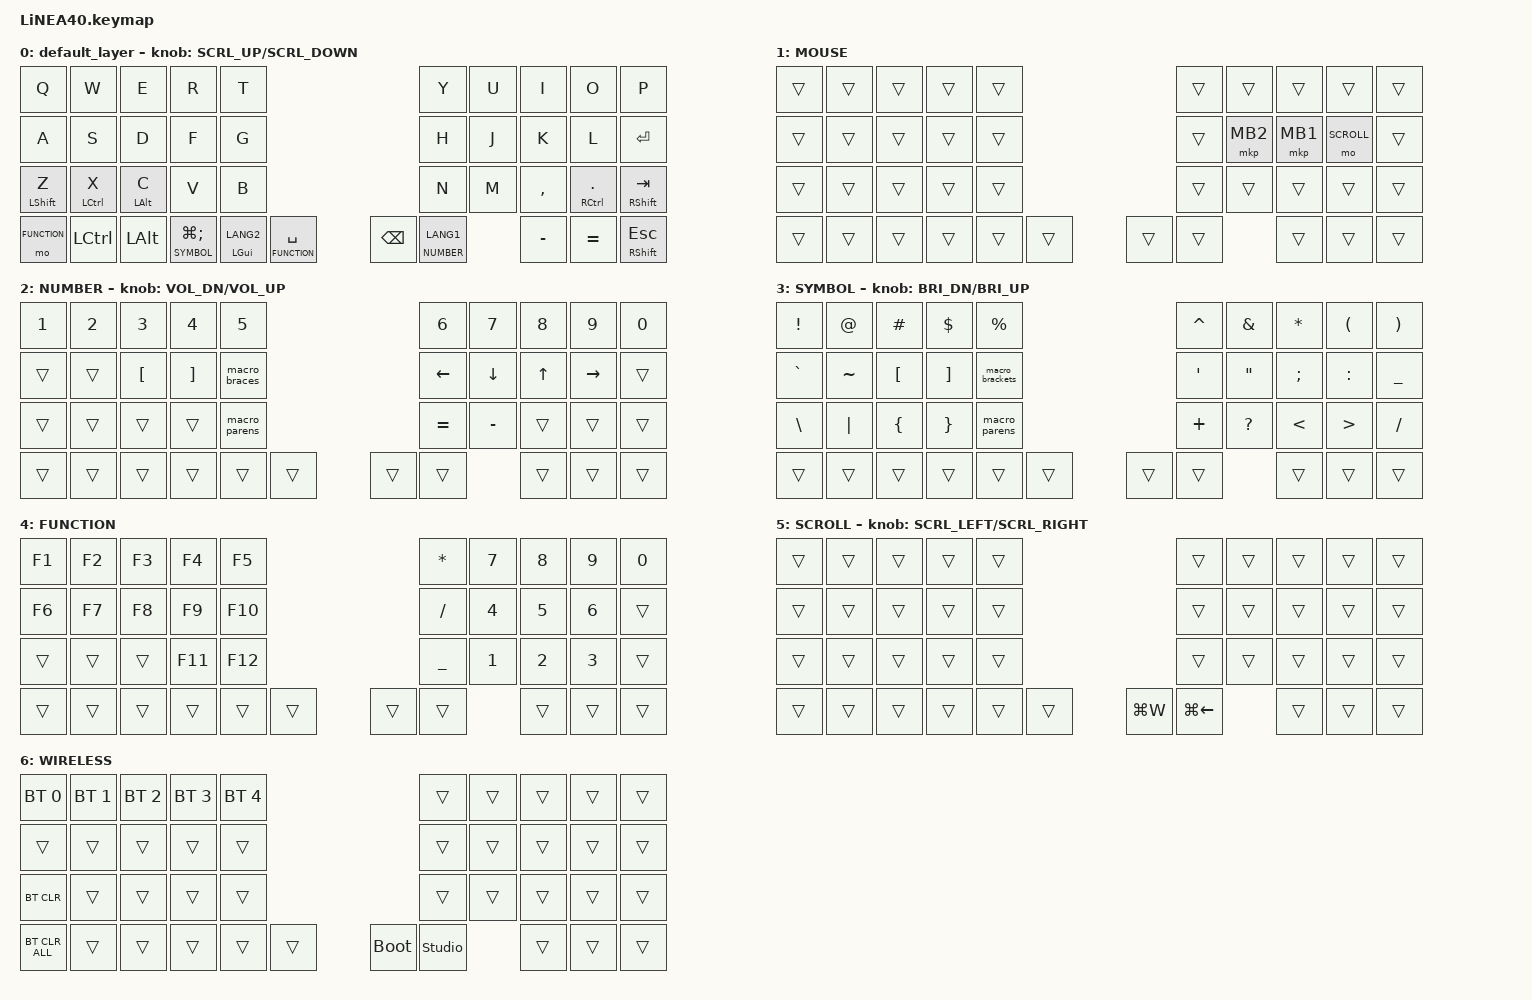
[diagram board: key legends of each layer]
#define ZMK_POINTING_DEFAULT_SCRL_VAL 150

#include <dt-bindings/zmk/input_transform.h>
#include <input/processors.dtsi>
#include <zephyr/dt-bindings/input/input-event-codes.h>
#include <behaviors.dtsi>
#include <dt-bindings/zmk/bt.h>
#include <dt-bindings/zmk/keys.h>
#include <dt-bindings/zmk/pointing.h>

// レイヤー定義

#define MOUSE 1
#define NUMBER 2
#define SYMBOL 3
#define FUNCTION 4
#define SCROLL 5
#define WIRELESS 6

// 書き込みコマンド
// git pull | ./flash_l.sh 左用
// git pull | ./flash_r.sh 右用
//mouse cursol
// &mmv {
//     delay-ms = <20>;
//     trigger-period-ms = <5>;
//     time-to-max-speed-ms = <100>;
//     acceleration-exponent = <2>;
// };
// //mouse scroll
// &msc {
//     delay-ms = <3>;
//     trigger-period-ms = <3>;
//     time-to-max-speed-ms = <100>;
//     acceleration-exponent = <30>;
// };

/ {
    input_processors {
        zip_wheel_scaler: zip_wheel_scaler {
            compatible = "zmk,input-processor-scaler";
            #input-processor-cells = <2>;
            type = <INPUT_EV_REL>;
            codes = <INPUT_REL_WHEEL>;
            track-remainders;
        };
    };
};

&msc_input_listener {
    // speed_up {
    //     layers = <FUNCTION>;
    //     // スクロールを3倍速にする
    //     input-processors = <
    //         &zip_wheel_scaler 4 1
    //     >;
    // };
    // speed_down {
    //     layers = <NUMBER>;
    //     // スクロールを?倍速にする
    //     input-processors = <
    //         &zip_wheel_scaler 1 3
    //     >;
    // };
};

&trackball_listener {
    scroller {
        layers = <SCROLL>;
        input-processors = <
            &zip_scroll_transform INPUT_TRANSFORM_Y_INVERT
            &zip_xy_to_scroll_mapper
        >;
    };
};

/ {
    macros {
        macro_ctrl_space: macro_ctrl_space {
            compatible = "zmk,behavior-macro";
            #binding-cells = <0>;
            wait-ms = <10>;
            tap-ms = <10>;
            bindings =
                <&macro_press>,
                <&kp LCTRL>,
                <&macro_tap>,
                <&kp SPACE>,
                <&macro_release>,
                <&kp LCTRL>;
        };

        /* ()を入力してカーソルを中に戻す */

        macro_parens: macro_parens {
            compatible = "zmk,behavior-macro";
            #binding-cells = <0>;
            wait-ms = <10>;
            tap-ms = <10>;
            bindings = <&kp LPAR &kp RPAR &kp LEFT>;
        };

        /* []を入力してカーソルを中に戻す */

        macro_brackets: macro_brackets {
            compatible = "zmk,behavior-macro";
            #binding-cells = <0>;
            wait-ms = <10>;
            tap-ms = <10>;
            bindings = <&kp LBKT &kp RBKT &kp LEFT>;
        };

        /* {}を入力してカーソルを中に戻す */

        macro_braces: macro_braces {
            compatible = "zmk,behavior-macro";
            #binding-cells = <0>;
            wait-ms = <10>;
            tap-ms = <10>;
            bindings = <&kp LBRC &kp RBRC &kp LEFT>;
        };

        /* <>を入力する */

        macro_angles: macro_angles {
            compatible = "zmk,behavior-macro";
            #binding-cells = <0>;
            wait-ms = <10>;
            tap-ms = <10>;
            bindings = <&kp LT &kp GT>;
        };

        /* ''を入力する */

        macro_squotes: macro_squotes {
            compatible = "zmk,behavior-macro";
            #binding-cells = <0>;
            wait-ms = <10>;
            tap-ms = <10>;
            bindings = <&kp SQT &kp SQT>;
        };

        /* ""を入力する */

        macro_dquotes: macro_dquotes {
            compatible = "zmk,behavior-macro";
            #binding-cells = <0>;
            wait-ms = <10>;
            tap-ms = <10>;
            bindings = <&kp DQT &kp DQT>;
        };

        macro_if: if {
            compatible = "zmk,behavior-macro";
            #binding-cells = <0>;
            bindings = <&kp LPAR &kp RPAR &kp SPACE &kp LBRC &kp RBRC>;
            label = "IF";
        };
    };

    combos {
        compatible = "zmk,combos";

        /* ============================================================
           CATEGORY: MOUSE & SYSTEM (CamelCase)
           =========================================================== */
        // Bluetoothレイヤー(6)呼び出し : 最下段3キー同時押し

        BluetoothLayer {
            bindings = <&mo WIRELESS>;
            key-positions = <39 40 38>;
        };

        combo_sqt {
            bindings = <&kp SQT>;
            key-positions = <18 17>;
        };

        combo_semi {
            bindings = <&kp SEMI>;
            key-positions = <17 16>;
        };

        combo_slash {
            bindings = <&kp SLASH>;
            key-positions = <27 28>;
        };

        combo_grave {
            bindings = <&kp GRAVE>;
            key-positions = <7 8>;
        };

        combo_m_if {
            bindings = <&macro_if>;
            key-positions = <16 17 13 12>;
        };

        combo_esc {
            bindings = <&kp ESC>;
            key-positions = <16 18>;
            timeout-ms = <60>;
        };

        combo_back_slash {
            bindings = <&kp BSLH>;
            key-positions = <25 26>;
        };

        combo_at {
            bindings = <&kp AT>;
            key-positions = <5 6>;
        };

        scroll {
            bindings = <&mo 5>;
            key-positions = <12 13>;
        };
    };

    behaviors {
        // 長押しでLGUI (Cmd)、単押しでCtrl+Spaceマクロ

        gui_ctrl_space: gui_ctrl_space {
            compatible = "zmk,behavior-hold-tap";
            label = "GUI_CTRL_SPACE";
            #binding-cells = <2>;
            tapping-term-ms = <200>;    // 長押しと判定されるまでの時間
            quick-tap-ms = <150>;       // 素早く2回叩いた時の挙動調整
            flavor = "hold-preferred";   // 単押し（マクロ）を優先する設定
            bindings = <&kp>, <&macro_ctrl_space>;
        };

        // Caps Lockをダブルタップで発動させる設定

        td_caps: td_caps {
            compatible = "zmk,behavior-tap-dance";
            label = "TD_CAPS";
            #binding-cells = <0>;
            tapping-term-ms = <200>;
            bindings = <&none>, <&kp CAPS>;

            // 1タップ目は何もしない（あるいは別のキー）、2タップでCaps
        };

        // カスタムHold-Tap: ホールドでLCMD、タップでLANG2、ダブルタップでCaps
        // ※gui_enをベースに、タップ部分をtd_capsと組み合わせたような挙動にします

        hm_caps: hm_caps {
            compatible = "zmk,behavior-hold-tap";
            label = "HM_CAPS";
            #binding-cells = <2>;

            // ホールド判定を少し短めにして、Commandとしての反応を速くする

            tapping-term-ms = <200>;

            // 連続入力時の判定を安定させる

            quick-tap-ms = <175>;

            // タップ判定よりもホールド（Command）を優先

            flavor = "hold-preferred";
            bindings = <&kp>, <&td_caps_lang>;
        };

        // LANG2とCAPSのタップダンス

        td_caps_lang: td_caps_lang {
            compatible = "zmk,behavior-tap-dance";
            label = "TD_CAPS_LANG";
            #binding-cells = <0>;
            tapping-term-ms = <250>;
            bindings = <&kp LANG2>, <&kp CAPS>;

            // 1タップで英数、2タップでCaps
        };

        re_kp: sensor_rotate_kp {
            compatible = "zmk,behavior-sensor-rotate-var";
            #sensor-binding-cells = <2>;
            bindings = <&kp>, <&kp>;
        };

        mouse_scrl: mouse_wheel_scrl {
            compatible = "zmk,behavior-sensor-rotate-var";
            #sensor-binding-cells = <2>;
            bindings = <&msc>, <&msc>;

            tap-ms = <20>;
        };

        // タップで英数、ダブルタップでかな

        td_enjp: td_enjp {
            compatible = "zmk,behavior-tap-dance";
            label = "TD_ENJP";
            #binding-cells = <0>;
            tapping-term-ms = <270>;
            bindings = <&kp LANG2>, <&kp LANG1>;
        };

        // 長押しGUI、タップで英数かな切り替え

        gui_en: gui_en {
            compatible = "zmk,behavior-hold-tap";
            label = "GUI_EN";
            #binding-cells = <2>;
            tapping-term-ms = <129>;
            flavor = "balanced";
            hold-trigger-on-release;
            bindings = <&kp>, <&td_enjp>;
        };

        // 一般的なHold-Tap (Hold: Modifier, Tap: Key)

        hm: hm {
            compatible = "zmk,behavior-hold-tap";
            label = "HM";
            #binding-cells = <2>;
            tapping-term-ms = <195>;

            // quick-tap-ms = <190>;

            flavor = "hold-preferred";
            bindings = <&kp>, <&kp>;
        };

        // ホームロウモッド用Hold-Tap（タイピング中の誤爆対策入り）

        hrm: home_row_mod {
            compatible = "zmk,behavior-hold-tap";
            #binding-cells = <2>;
            flavor = "tap-preferred";
            tapping-term-ms = <220>;
            quick-tap-ms = <175>;          // 連打・長押しリピート時はタップ扱い
            require-prior-idle-ms = <150>; // タイピング中の連続入力ではホールドにしない

            // 右手側＋親指キーと組み合わせた時だけホールド

            hold-trigger-key-positions = <5 6 7 8 9 15 16 17 18 19 25 26 27 28 29 30 31 32 33 34 35 36 37 38 39 40>;
            bindings = <&kp>, <&kp>;
        };

        // 一般的なLayer-Tap (Hold: Layer, Tap: Key)

        lt_k: lt_k {
            compatible = "zmk,behavior-hold-tap";
            label = "LT_K";
            #binding-cells = <2>;
            tapping-term-ms = <195>;
            flavor = "hold-preferred";

            // quick-tap-ms = <10>;

            bindings = <&mo>, <&kp>;
        };

        // スペース用Hold-Tap

        st: st {
            compatible = "zmk,behavior-hold-tap";
            label = "ST";
            #binding-cells = <2>;
            tapping-term-ms = <180>;
            quick-tap-ms = <195>;
            require-prior-idle-ms = <100>;
            flavor = "tap-preferred";
            bindings = <&kp>, <&kp>;
        };

        // Ctrl併用時に単語削除(Alt+BS)化

        bs_m: bs_m {
            compatible = "zmk,behavior-mod-morph";
            label = "BS_M";
            #binding-cells = <0>;
            bindings = <&kp BSPC>, <&kp LA(BSPC)>;

            mods = <(MOD_LCTL)>;
        };

        // 右親指用：長押しLayer 1、タップBSPC（Ctrl時は単語削除）、連打長押しでLayer優先

        l1_bs: l1_bs {
            compatible = "zmk,behavior-hold-tap";
            label = "L1_BS";
            #binding-cells = <2>;
            tapping-term-ms = <160>;
            flavor = "hold-preferred";
            quick-tap-ms = <0>; // 連打時のBS長押しを禁止
            bindings = <&mo>, <&bs_m>;
        };

        stl: stl {
            compatible = "zmk,behavior-hold-tap";
            label = "STL";
            #binding-cells = <2>;
            tapping-term-ms = <195>;
            quick-tap-ms = <190>;
            require-prior-idle-ms = <110>;
            flavor = "tap-preferred";
            bindings = <&mo>, <&kp>;
        };

        stmo: stmo {
            compatible = "zmk,behavior-hold-tap";
            label = "STMO";
            #binding-cells = <2>;
            tapping-term-ms = <196>;
            quick-tap-ms = <175>;
            require-prior-idle-ms = <90>;
            flavor = "tap-preferred";
            bindings = <&mt>, <&kp>;
        };
    };

    keymap {
        compatible = "zmk,keymap";

        default_layer {
            bindings = <
&kp Q         &kp W        &kp E       &kp R                  &kp T                                            &kp Y               &kp U  &kp I      &kp O          &kp P
&kp A         &kp S        &kp D       &kp F                  &kp G                                            &kp H               &kp J  &kp K      &kp L          &kp RET
&st LSHIFT Z  &st LCTRL X  &st LALT C  &kp V                  &kp B                                            &kp N               &kp M  &kp COMMA  &st RCTRL DOT  &st RSHIFT TAB
&mo FUNCTION  &kp LCTRL    &kp LALT    &lt_k SYMBOL LG(SEMI)  &hm LGUI LANG2  &stl FUNCTION SPACE    &kp BSPC  &lt_k NUMBER LANG1         &kp MINUS  &kp EQUAL      &hm RSHIFT ESC
            >;

            sensor-bindings = <&mouse_scrl SCRL_UP SCRL_DOWN>;
        };

        //1 マウス操作用

        MOUSE {
            bindings = <
&trans  &trans  &trans  &trans  &trans                    &trans  &trans    &trans    &trans      &trans
&trans  &trans  &trans  &trans  &trans                    &trans  &mkp MB2  &mkp MB1  &mo SCROLL  &trans
&trans  &trans  &trans  &trans  &trans                    &trans  &trans    &trans    &trans      &trans
&trans  &trans  &trans  &trans  &trans  &trans    &trans  &trans            &trans    &trans      &trans
            >;
        };

        //2 数字・基本記号・矢印キー

        NUMBER {
            bindings = <
&kp N1  &kp N2  &kp N3    &kp N4    &kp N5                           &kp N6     &kp N7     &kp N8  &kp N9     &kp N0
&trans  &trans  &kp LBKT  &kp RBKT  &macro_braces                    &kp LEFT   &kp DOWN   &kp UP  &kp RIGHT  &trans
&trans  &trans  &trans    &trans    &macro_parens                    &kp EQUAL  &kp MINUS  &trans  &trans     &trans
&trans  &trans  &trans    &trans    &trans         &trans    &trans  &trans                &trans  &trans     &trans
            >;
            sensor-bindings = <&re_kp C_VOL_DN C_VOL_UP>;
        };

        //3 記号

        SYMBOL {
            bindings = <
&kp EXCL   &kp AT     &kp HASH  &kp DLLR  &kp PRCNT                          &kp CARET  &kp AMPS   &kp ASTRK  &kp LPAR   &kp RPAR
&kp GRAVE  &kp TILDE  &kp LBKT  &kp RBKT  &macro_brackets                    &kp SQT    &kp DQT    &kp SEMI   &kp COLON  &kp UNDER
&kp BSLH   &kp PIPE   &kp LBRC  &kp RBRC  &macro_parens                      &kp PLUS   &kp QMARK  &kp LT     &kp GT     &kp SLASH
&trans     &trans     &trans    &trans    &trans           &trans    &trans  &trans                &trans     &trans     &trans
            >;

            sensor-bindings = <&re_kp C_BRI_DN C_BRI_UP>;
        };

        //4 F1〜F12・テンキー

        FUNCTION {
            bindings = <
&kp F1  &kp F2  &kp F3  &kp F4   &kp F5                     &kp ASTRK  &kp N7  &kp N8  &kp N9  &kp N0
&kp F6  &kp F7  &kp F8  &kp F9   &kp F10                    &kp SLASH  &kp N4  &kp N5  &kp N6  &trans
&trans  &trans  &trans  &kp F11  &kp F12                    &kp UNDER  &kp N1  &kp N2  &kp N3  &trans
&trans  &trans  &trans  &trans   &trans   &trans    &trans  &trans             &trans  &trans  &trans
            >;
        };

        //5 スクロール操作用

        SCROLL {
            bindings = <
&trans  &trans  &trans  &trans  &trans                       &trans        &trans  &trans  &trans  &trans
&trans  &trans  &trans  &trans  &trans                       &trans        &trans  &trans  &trans  &trans
&trans  &trans  &trans  &trans  &trans                       &trans        &trans  &trans  &trans  &trans
&trans  &trans  &trans  &trans  &trans  &trans    &kp LG(W)  &kp LG(LEFT)          &trans  &trans  &trans
            >;

            sensor-bindings = <&mouse_scrl SCRL_LEFT SCRL_RIGHT>;
        };

        //6 通信・システム設定

        WIRELESS {
            bindings = <
&bt BT_SEL 0    &bt BT_SEL 1  &bt BT_SEL 2  &bt BT_SEL 3  &bt BT_SEL 4                         &trans          &trans  &trans  &trans  &trans
&trans          &trans        &trans        &trans        &trans                               &trans          &trans  &trans  &trans  &trans
&bt BT_CLR      &trans        &trans        &trans        &trans                               &trans          &trans  &trans  &trans  &trans
&bt BT_CLR_ALL  &trans        &trans        &trans        &trans        &trans    &bootloader  &studio_unlock          &trans  &trans  &trans
            >;
        };
    };
};
